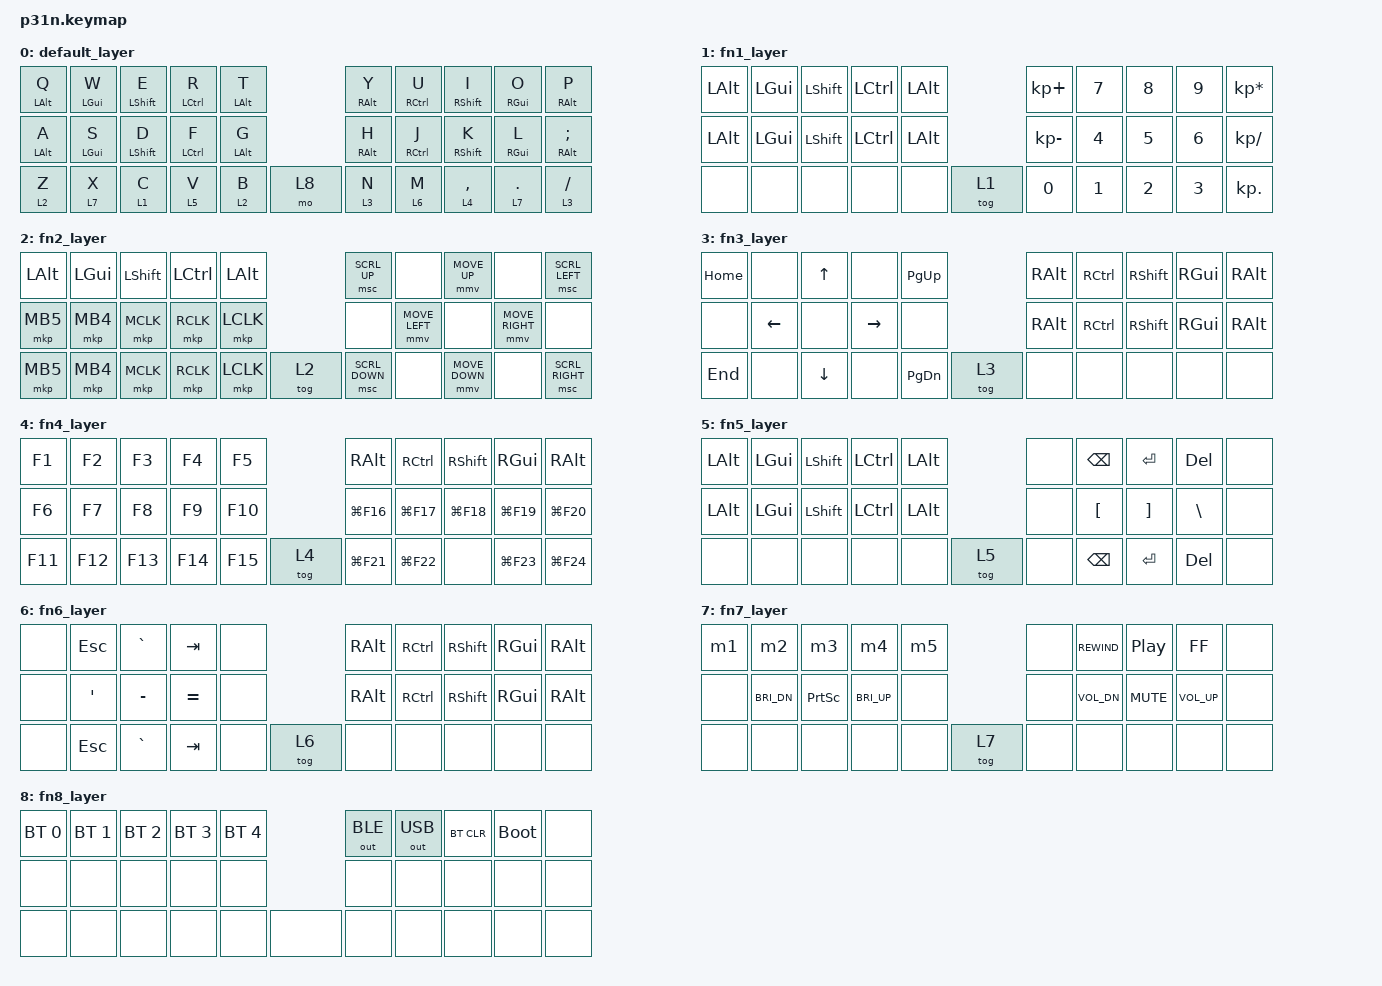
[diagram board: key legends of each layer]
/*
 * Copyright (c) 2020 The ZMK Contributors
 *
 * SPDX-License-Identifier: MIT
 */

#define ZMK_POINTING_DEFAULT_MOVE_VAL 1200

#include <behaviors.dtsi>
#include <dt-bindings/zmk/keys.h>
#include <dt-bindings/zmk/bt.h>
#include <dt-bindings/zmk/outputs.h>
#include <dt-bindings/zmk/ext_power.h>
#include <dt-bindings/zmk/mouse.h>

&lt {
    tapping-term-ms = <175>;
};

&mt {
    tapping-term-ms = <175>;
};

/ {
#include "p31n-macros.dtsi"

    combos {
        compatible = "zmk,combos";

        combo_wo {
            timeout-ms = <50>;
            key-positions = <1 8>;
            bindings = <&kp LG(SPACE)>;
            layers = <0>;
        };

        combo_ei {
            timeout-ms = <50>;
            key-positions = <2 7>;
            bindings = <&kp LC(SPACE)>;
            layers = <0>;
        };

        combo_ru {
            timeout-ms = <50>;
            key-positions = <3 6>;
            bindings = <&kp LG(SEMI)>;
            layers = <0>;
        };

        combo_ty {
            timeout-ms = <50>;
            key-positions = <4 5>;
            bindings = <&m6>;
            layers = <0>;
        };

        combo_qp {
            timeout-ms = <50>;
            key-positions = <0 9>;
            bindings = <&m10>;
            layers = <0>;
        };

        combo_bn {
            timeout-ms = <50>;
            key-positions = <24 26>;
            bindings = <&kp SPACE>;
            layers = <0>;
        };

        // macOS screenshots: hold each listed pair together to trigger.
        combo_gh_screenshot {
            timeout-ms = <50>;
            key-positions = <14 15>;
            bindings = <&screenshot_full>;
            layers = <0>;
        };

        combo_fj_screenshot {
            timeout-ms = <50>;
            key-positions = <13 16>;
            bindings = <&screenshot_region>;
            layers = <0>;
        };

        combo_dk_screenshot {
            timeout-ms = <50>;
            key-positions = <12 17>;
            bindings = <&screenshot_window>;
            layers = <0>;
        };

        combo_sl_screenshot {
            timeout-ms = <50>;
            key-positions = <11 18>;
            bindings = <&screenshot_toolbar>;
            layers = <0>;
        };

        combo_a_semicolon_screenshot {
            timeout-ms = <50>;
            key-positions = <10 19>;
            bindings = <&screenshot_touchbar>;
            layers = <0>;
        };

    };

    keymap0: keymap {
        compatible = "zmk,keymap";

        // Central key locks/unlocks layers 1-7 after momentary entry.
        // The default layer retains the momentary system-layer shortcut.
        default_layer {
            bindings = <
            &mt LALT Q   &mt LGUI W    &mt LSHFT E    &mt LCTRL R    &mt LALT T        &mt RALT Y     &mt RCTRL U    &mt RSHFT I     &mt RGUI O    &mt RALT P
            &mt LALT A   &mt LGUI S    &mt LSHFT D    &mt LCTRL F    &mt LALT G        &mt RALT H     &mt RCTRL J    &mt RSHFT K     &mt RGUI L    &mt RALT SEMI
            &lt 2 Z      &lt 7 X       &lt 1 C        &lt 5 V        &lt 2 B    &mo 8        &lt 3 N       &lt 6 M       &lt 4 COMMA     &lt 7 DOT    &lt 3 SLASH
            >;
        };

        fn1_layer {
            bindings = <
            &kp LALT     &kp LGUI      &kp LSHFT      &kp LCTRL      &kp LALT          &kp KP_PLUS    &kp N7         &kp N8          &kp N9        &kp KP_ASTERISK
            &kp LALT     &kp LGUI      &kp LSHFT      &kp LCTRL      &kp LALT          &kp KP_MINUS   &kp N4         &kp N5          &kp N6        &kp KP_SLASH
            &none        &none         &none          &none          &none     &tog 1  &kp N0        &kp N1         &kp N2          &kp N3        &kp KP_DOT
            >;
        };

        fn2_layer {
            bindings = <
            &kp LALT     &kp LGUI      &kp LSHFT      &kp LCTRL      &kp LALT          &msc SCRL_UP   &none          &mmv MOVE_UP    &none         &msc SCRL_LEFT
            &mkp MB5     &mkp MB4      &mkp MCLK      &mkp RCLK      &mkp LCLK         &none          &mmv MOVE_LEFT &none           &mmv MOVE_RIGHT &none
            &mkp MB5     &mkp MB4      &mkp MCLK      &mkp RCLK      &mkp LCLK &tog 2  &msc SCRL_DOWN &none          &mmv MOVE_DOWN  &none         &msc SCRL_RIGHT
            >;
        };

        fn3_layer {
            bindings = <
            &kp HOME     &none         &kp UP         &none          &kp PG_UP         &kp RALT       &kp RCTRL      &kp RSHFT       &kp RGUI      &kp RALT
            &none        &kp LEFT      &none          &kp RIGHT      &none             &kp RALT       &kp RCTRL      &kp RSHFT       &kp RGUI      &kp RALT
            &kp END      &none         &kp DOWN       &none          &kp PG_DN &tog 3  &none          &none          &none           &none         &none
            >;
        };

        fn4_layer {
            bindings = <
            &kp F1       &kp F2        &kp F3         &kp F4         &kp F5            &kp RALT       &kp RCTRL      &kp RSHFT       &kp RGUI      &kp RALT
            &kp F6       &kp F7        &kp F8         &kp F9         &kp F10           &kp LG(F16)    &kp LG(F17)    &kp LG(F18)     &kp LG(F19)   &kp LG(F20)
            &kp F11      &kp F12       &kp F13        &kp F14        &kp F15   &tog 4  &kp LG(F21)    &kp LG(F22)    &none          &kp LG(F23)   &kp LG(F24)
            >;
        };

        fn5_layer {
            bindings = <
            &kp LALT &kp LGUI &kp LSHFT &kp LCTRL &kp LALT &none &kp BSPC &kp ENTER &kp DEL &none
            &kp LALT &kp LGUI &kp LSHFT &kp LCTRL &kp LALT &none &kp LBKT &kp RBKT &kp BSLH &none
            &none &none &none &none &none &tog 5 &none &kp BSPC &kp ENTER &kp DEL &none
            >;
        };

        fn6_layer {
            bindings = <
            &none &kp ESC   &kp GRAVE &kp TAB   &none &kp RALT &kp RCTRL &kp RSHFT &kp RGUI &kp RALT
            &none &kp SQT   &kp MINUS &kp EQUAL &none &kp RALT &kp RCTRL &kp RSHFT &kp RGUI &kp RALT
            &none &kp ESC   &kp GRAVE &kp TAB   &none &tog 6 &none &none &none &none &none
            >;
        };

        fn7_layer {
            bindings = <
            &m1 &m2 &m3 &m4 &m5 &none &kp C_REWIND &kp C_PP &kp C_FF &none
            &none &kp C_BRI_DN &kp PSCRN &kp C_BRI_UP &none &none &kp C_VOL_DN &kp C_MUTE &kp C_VOL_UP &none
            &none &none &none &none &none &tog 7 &none &none &none &none &none
            >;
        };

        fn8_layer {
            bindings = <
            &bt BT_SEL 0 &bt BT_SEL 1 &bt BT_SEL 2 &bt BT_SEL 3 &bt BT_SEL 4 &out OUT_BLE &out OUT_USB &bt BT_CLR &bootloader &none
            &none &none &none &none &none &none &none &none &none &none
            &none &none &none &none &none &none &none &none &none &none &none
            >;
        };
    };
};
